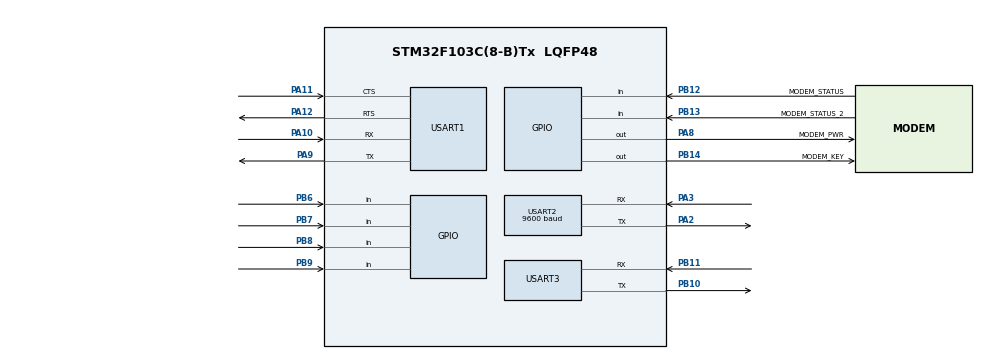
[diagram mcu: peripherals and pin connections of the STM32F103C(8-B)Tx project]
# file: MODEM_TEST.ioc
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Mcu.Family=STM32F1
Mcu.Name=STM32F103C(8-B)Tx
Mcu.Package=LQFP48
NVIC.PriorityGroup=NVIC_PRIORITYGROUP_4
NVIC.USART1_IRQn=true\:0\:0\:false\:false\:true\:true\:true
NVIC.USART2_IRQn=true\:0\:0\:false\:false\:true\:true\:true
NVIC.USART3_IRQn=true\:0\:0\:false\:false\:true\:true\:true
PA10.Mode=Asynchronous
PA10.Signal=USART1_RX
PA11.Mode=CTS_RTS
PA11.Signal=USART1_CTS
PA12.Mode=CTS_RTS
PA12.Signal=USART1_RTS
PA13.Mode=Trace_Asynchronous_SW
PA13.Signal=SYS_JTMS-SWDIO
PA14.Mode=Trace_Asynchronous_SW
PA14.Signal=SYS_JTCK-SWCLK
PA2.Mode=Asynchronous
PA2.Signal=USART2_TX
PA3.Mode=Asynchronous
PA3.Signal=USART2_RX
PA8.GPIO_Label=MODEM_PWR
PA8.GPIO_ModeDefaultOutputPP=GPIO_MODE_OUTPUT_OD
PA8.PinState=GPIO_PIN_SET
PA8.Signal=GPIO_Output
PA9.Mode=Asynchronous
PA9.Signal=USART1_TX
PB10.Mode=Asynchronous
PB10.Signal=USART3_TX
PB11.Mode=Asynchronous
PB11.Signal=USART3_RX
PB12.GPIO_Label=MODEM_STATUS
PB12.Signal=GPIO_Input
PB13.GPIO_Label=MODEM_STATUS_2
PB13.Signal=GPIO_Input
PB14.GPIO_Label=MODEM_KEY
PB14.GPIO_ModeDefaultOutputPP=GPIO_MODE_OUTPUT_OD
PB14.PinState=GPIO_PIN_SET
PB14.Signal=GPIO_Output
PB3.Mode=Trace_Asynchronous_SW
PB3.Signal=SYS_JTDO-TRACESWO
PB6.Signal=GPIO_Input
PB7.Signal=GPIO_Input
PB8.Signal=GPIO_Input
PB9.Signal=GPIO_Input
ProjectManager.HeapSize=0x200
ProjectManager.StackSize=0x400
ProjectManager.TargetToolchain=STM32CubeIDE
RCC.AHBFreq_Value=64000000
RCC.APB1CLKDivider=RCC_HCLK_DIV2
RCC.APB1Freq_Value=32000000
RCC.APB1TimFreq_Value=64000000
RCC.APB2Freq_Value=64000000
RCC.APB2TimFreq_Value=64000000
RCC.HCLKFreq_Value=64000000
RCC.PLLMUL=RCC_PLL_MUL16
RCC.SYSCLKFreq_VALUE=64000000
RCC.SYSCLKSource=RCC_SYSCLKSOURCE_PLLCLK
RCC.USBFreq_Value=64000000
USART1.VirtualMode=VM_ASYNC
USART2.BaudRate=9600
USART2.VirtualMode=VM_ASYNC
USART3.VirtualMode=VM_ASYNC
board=custom

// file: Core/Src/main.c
/* USER CODE BEGIN Header */
/**
  ******************************************************************************
  * @file           : main.c
  * @brief          : Main program body
  ******************************************************************************
  * @attention
  *
  * <h2><center>&copy; Copyright (c) 2021 STMicroelectronics.
  * All rights reserved.</center></h2>
  *
  * This software component is licensed by ST under BSD 3-Clause license,
  * the "License"; You may not use this file except in compliance with the
  * License. You may obtain a copy of the License at:
  *                        opensource.org/licenses/BSD-3-Clause
  *
  ******************************************************************************
  */
/* USER CODE END Header */
#include "main.h"
#include "usart.h"
#include "gpio.h"

/* USER CODE BEGIN Includes */
#include <stdbool.h>
#include "ringbuffer.h"
/* USER CODE END Includes */

/* USER CODE BEGIN PV */
RingBufferU8 rb_u1, rb_u2;
uint8_t rb_u1_s[128], rb_u2_s[128];
/* USER CODE END PV */

void SystemClock_Config(void);

/* USER CODE BEGIN 0 */
void  USART1_TX_Callback(void)
{
	if (RingBufferU8_available(&rb_u2)) {
		LL_USART_TransmitData8(USART1, RingBufferU8_readByte(&rb_u2));
		LL_USART_EnableIT_TXE(USART1);
	} else
		LL_USART_DisableIT_TXE(USART1);
}

void  USART2_TX_Callback(void)
{
//	if (RingBufferU8_available(&rb_u1))
//		LL_USART_TransmitData8(USART2, RingBufferU8_readByte(&rb_u1));
//	    LL_USART_EnableIT_TXE(USART2);
}

void  USART3_TX_Callback(void)
{
	if (RingBufferU8_available(&rb_u1)) {
		LL_USART_TransmitData8(USART3, RingBufferU8_readByte(&rb_u1));
		LL_USART_EnableIT_TXE(USART3);
	} else
		LL_USART_DisableIT_TXE(USART3);
}

void  USART1_RX_Callback(void)
{
	RingBufferU8_writeByte(&rb_u1, LL_USART_ReceiveData8(USART1));
	if (LL_USART_IsActiveFlag_TXE(USART3))
		USART3_TX_Callback();
}

void  USART2_RX_Callback(void)
{
	RingBufferU8_writeByte(&rb_u1, LL_USART_ReceiveData8(USART2));
	if (LL_USART_IsActiveFlag_TXE(USART3))
		USART3_TX_Callback();
}

void  USART3_RX_Callback(void)
{
	RingBufferU8_writeByte(&rb_u2, LL_USART_ReceiveData8(USART3));
	if (LL_USART_IsActiveFlag_TXE(USART1))
		USART1_TX_Callback();
}
/* USER CODE END 0 */

int main(void)
{

  /* MCU Configuration--------------------------------------------------------*/

  /* Reset of all peripherals, Initializes the Flash interface and the Systick. */

  LL_APB2_GRP1_EnableClock(LL_APB2_GRP1_PERIPH_AFIO);
  LL_APB1_GRP1_EnableClock(LL_APB1_GRP1_PERIPH_PWR);

  NVIC_SetPriorityGrouping(NVIC_PRIORITYGROUP_4);

  /* System interrupt init*/
  /* SysTick_IRQn interrupt configuration */
  NVIC_SetPriority(SysTick_IRQn, NVIC_EncodePriority(NVIC_GetPriorityGrouping(),15, 0));

  /** NOJTAG: JTAG-DP Disabled and SW-DP Enabled
  */
  LL_GPIO_AF_Remap_SWJ_NOJTAG();

  /* Configure the system clock */
  SystemClock_Config();

  /* Initialize all configured peripherals */
  MX_GPIO_Init();
  MX_USART1_UART_Init();
  MX_USART2_UART_Init();
  MX_USART3_UART_Init();
  /* USER CODE BEGIN 2 */

  RingBufferU8_init(&rb_u1, rb_u1_s, sizeof(rb_u1_s));
  RingBufferU8_init(&rb_u2, rb_u2_s, sizeof(rb_u2_s));

  LL_USART_EnableIT_RXNE(USART1);
  LL_USART_EnableIT_RXNE(USART2);
  LL_USART_EnableIT_RXNE(USART3);

  RingBufferU8_write(&rb_u1, (const uint8_t*)"\r\n\r\nHello\r\n", 5+6);
  if (LL_USART_IsActiveFlag_TXE(USART3)) USART3_TX_Callback();

  if (LL_RCC_IsActiveFlag_LPWRRST()) {
	  RingBufferU8_write(&rb_u1, (const uint8_t*)"LPWRRST\r\n", 9);
	  if (LL_USART_IsActiveFlag_TXE(USART3)) USART3_TX_Callback();
  }

  if (LL_RCC_IsActiveFlag_IWDGRST()) {
	  RingBufferU8_write(&rb_u1, (const uint8_t*)"IWDGRST\r\n", 9);
	  if (LL_USART_IsActiveFlag_TXE(USART3)) USART3_TX_Callback();
  }

  if (LL_RCC_IsActiveFlag_PINRST()) {
	  RingBufferU8_write(&rb_u1, (const uint8_t*)"PINRST\r\n", 9);
	  if (LL_USART_IsActiveFlag_TXE(USART3)) USART3_TX_Callback();
  }

  if (LL_RCC_IsActiveFlag_PORRST()) {
	  RingBufferU8_write(&rb_u1, (const uint8_t*)"PORRST\r\n", 9);
	  if (LL_USART_IsActiveFlag_TXE(USART3)) USART3_TX_Callback();
  }

  if (LL_RCC_IsActiveFlag_SFTRST()) {
	  RingBufferU8_write(&rb_u1, (const uint8_t*)"SFTRST\r\n", 9);
	  if (LL_USART_IsActiveFlag_TXE(USART3)) USART3_TX_Callback();
  }

  if (LL_RCC_IsActiveFlag_WWDGRST()) {
	  RingBufferU8_write(&rb_u1, (const uint8_t*)"WWDGRST\r\n", 9);
	  if (LL_USART_IsActiveFlag_TXE(USART3)) USART3_TX_Callback();
  }

  LL_RCC_ClearResetFlags();

  //Включаем питание модема
  LL_GPIO_SetOutputPin(MODEM_PWR_GPIO_Port, MODEM_PWR_Pin);
  /* USER CODE END 2 */

  /* Infinite loop */
  /* USER CODE BEGIN WHILE */
  bool modem_ready = false;
  while (1)
  {
    /* USER CODE END WHILE */

    /* USER CODE BEGIN 3 */
    //Включаем модем
	if (!LL_GPIO_IsInputPinSet(MODEM_STATUS_GPIO_Port, MODEM_STATUS_Pin) || !LL_GPIO_IsInputPinSet(MODEM_STATUS_2_GPIO_Port, MODEM_STATUS_2_Pin)) {
	  RingBufferU8_write(&rb_u1, (const uint8_t*)"PWR_KEY\r\n", 9);
	  if (LL_USART_IsActiveFlag_TXE(USART3)) USART3_TX_Callback();

		  LL_GPIO_ResetOutputPin(MODEM_KEY_GPIO_Port, MODEM_KEY_Pin);
  //  	  while (!LL_GPIO_IsInputPinSet(MODEM_STATUS_GPIO_Port, MODEM_STATUS_Pin) && LL_GPIO_IsInputPinSet(MODEM_STATUS_2_GPIO_Port, MODEM_STATUS_2_Pin)) {
			  LL_mDelay(1000);
  //  	  }
		  LL_GPIO_SetOutputPin(MODEM_KEY_GPIO_Port, MODEM_KEY_Pin);

		  RingBufferU8_write(&rb_u1, (const uint8_t*)"STATUS 1\r\n", 10);
		  if (LL_USART_IsActiveFlag_TXE(USART3)) USART3_TX_Callback();
		  LL_mDelay(500);

		  modem_ready = false;
	} else
		LL_mDelay(100);

	if (!modem_ready) {
		for (uint8_t i=0; i<3; i++) {
			RingBufferU8_write(&rb_u2, (const uint8_t*)"AT\r\n", 4);
			if (LL_USART_IsActiveFlag_TXE(USART1)) USART1_TX_Callback();
			LL_mDelay(500);
		}
		modem_ready = true;
	}
  }
  /* USER CODE END 3 */
}

void SystemClock_Config(void)
{
  LL_FLASH_SetLatency(LL_FLASH_LATENCY_2);
  while(LL_FLASH_GetLatency()!= LL_FLASH_LATENCY_2)
  {
  }
  LL_RCC_HSI_SetCalibTrimming(16);
  LL_RCC_HSI_Enable();

   /* Wait till HSI is ready */
  while(LL_RCC_HSI_IsReady() != 1)
  {

  }
  LL_RCC_PLL_ConfigDomain_SYS(LL_RCC_PLLSOURCE_HSI_DIV_2, LL_RCC_PLL_MUL_16);
  LL_RCC_PLL_Enable();

   /* Wait till PLL is ready */
  while(LL_RCC_PLL_IsReady() != 1)
  {

  }
  LL_RCC_SetAHBPrescaler(LL_RCC_SYSCLK_DIV_1);
  LL_RCC_SetAPB1Prescaler(LL_RCC_APB1_DIV_2);
  LL_RCC_SetAPB2Prescaler(LL_RCC_APB2_DIV_1);
  LL_RCC_SetSysClkSource(LL_RCC_SYS_CLKSOURCE_PLL);

   /* Wait till System clock is ready */
  while(LL_RCC_GetSysClkSource() != LL_RCC_SYS_CLKSOURCE_STATUS_PLL)
  {

  }
  LL_Init1msTick(64000000);
  LL_SetSystemCoreClock(64000000);
}

void Error_Handler(void)
{
  __disable_irq();
  while (1)
  {
  }
}
